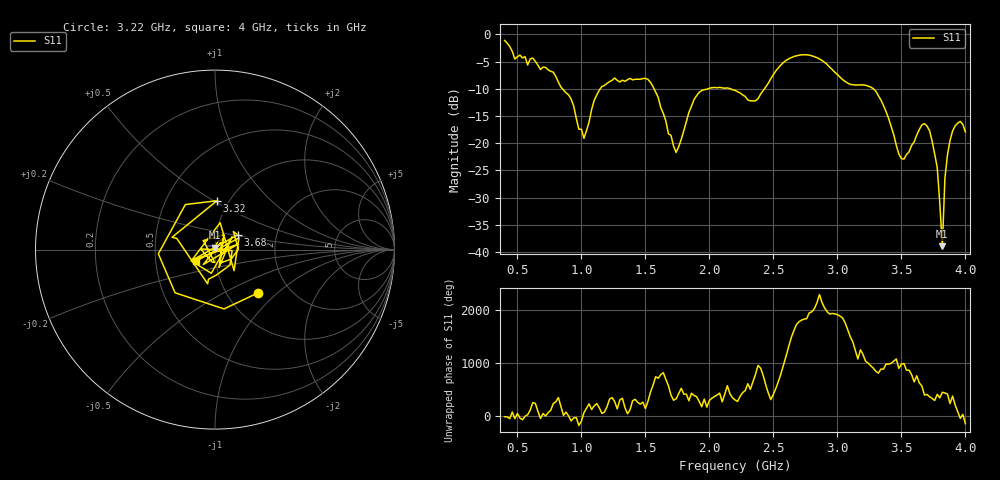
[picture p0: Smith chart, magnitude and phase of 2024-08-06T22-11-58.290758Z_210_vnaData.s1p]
!Created with skrf (http://scikit-rf.org).
# Hz S RI R 50.0
!freq ReS11 ImS11
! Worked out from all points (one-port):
!   181 points, 400 MHz to 4 GHz, reference 50 ohm
!   lowest |S11| = -38.9 dB at 3.82 GHz (marker M1), VSWR 1.02, Z = 50.1 + j1.13 ohm
!   |S11| at or under -10 dB: 851.6 MHz to 1.147 GHz (295.7 MHz wide, 29.6 % of centre); 1.567 GHz to 1.991 GHz (423.4 MHz wide, 23.8 % of centre); 3.28 GHz to end of sweep (the widest 3 of 4)
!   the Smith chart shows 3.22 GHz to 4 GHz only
!   S11 on the Smith chart (normalised r, x): 3.22 GHz: 1.39, -0.76; 3.32 GHz: 0.88, +0.52; 3.68 GHz: 1.27, +0.21; 4 GHz: 0.80, -0.11
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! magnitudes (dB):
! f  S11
! 400 MHz  -1.1
! 480 MHz  -4.6
! 620 MHz  -4.4
! 860 MHz  -10.2
! 1.02 GHz  -19.1
! 1.14 GHz  -10.2
! 1.3 GHz  -8.8
! 1.52 GHz  -8.3
! 1.74 GHz  -21.7
! 1.76 GHz  -20.6
! 1.92 GHz  -10.7
! 2.2 GHz  -10.3
! 2.36 GHz  -12.2
! 2.66 GHz  -4.1
! 2.86 GHz  -4.5
! 3.1 GHz  -9.2
! 3.22 GHz  -9.4
! 3.32 GHz  -11.3
! 3.5 GHz  -22.9
! 3.56 GHz  -21.6
! 3.68 GHz  -16.4
! 3.72 GHz  -17.7
! 3.78 GHz  -24.5
! 3.82 GHz  -38.9
! 3.84 GHz  -26.4
! 3.88 GHz  -19.5
! 3.96 GHz  -16.0
! 4 GHz  -17.9
